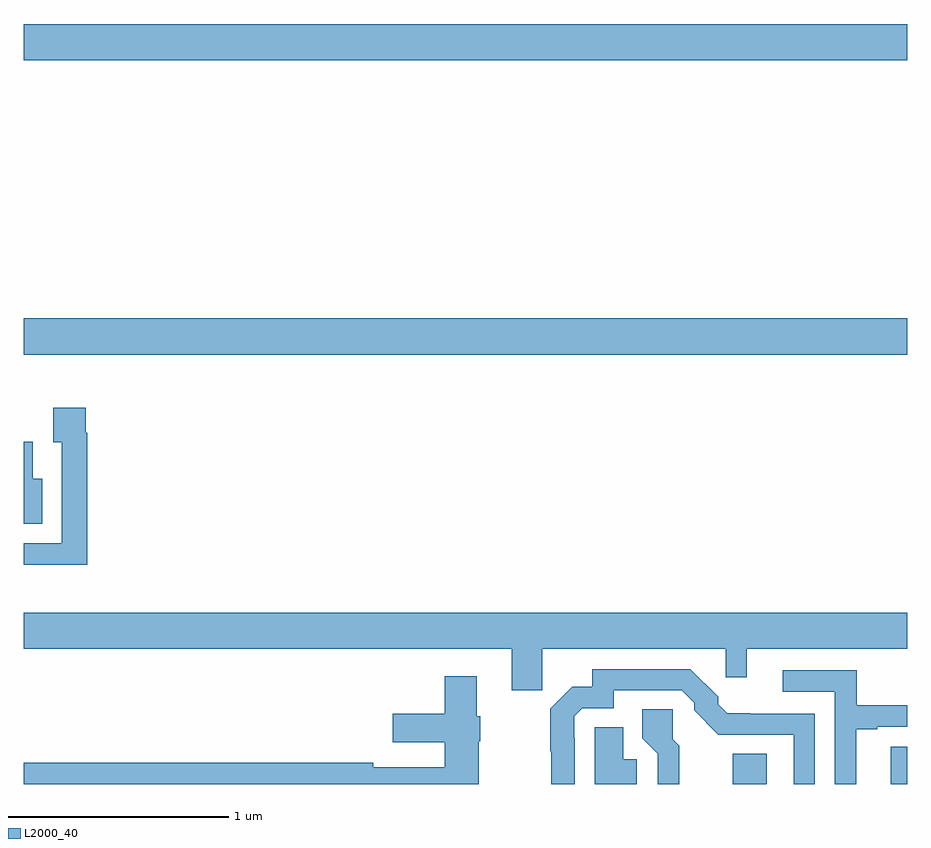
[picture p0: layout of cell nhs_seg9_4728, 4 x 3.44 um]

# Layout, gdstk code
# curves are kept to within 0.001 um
import gdstk
lib = gdstk.Library(unit=1e-6, precision=1e-09)
def R(c, l, rs):  # rectangles x0, y0, x1, y1
    for r in rs: c.add(gdstk.rectangle(r[:2], r[2:], *l))
def P(c, l, *ps):  # polygons
    for p in ps: c.add(gdstk.Polygon(p, *l))
L2000_40 = (2000, 40)

nhs_seg9_4728 = lib.new_cell('nhs_seg9_4728')
R(nhs_seg9_4728, L2000_40, [(388.925,1170.5,389,1170.669), (385,1172.444,389,1172.608), (385,1173.776,389,1173.94)])
P(nhs_seg9_4728, L2000_40, [(385.289,1172.09),(385.282,1172.09),(385.282,1172.203),(385.133,1172.203),(385.133,1172.047),(385.173,1172.047),(385.173,1171.59),(385,1171.59),(385,1171.493),(385.289,1171.493)],
  [(385.084,1171.882),(385.042,1171.882),(385.042,1172.05),(385,1172.05),(385,1171.679),(385.084,1171.679)],
  [(387.347,1171.112),(388.177,1171.112),(388.177,1170.983),(388.273,1170.983),(388.273,1171.112),(389,1171.112),(389,1171.276),(385,1171.276),(385,1171.112),(387.209,1171.112),(387.209,1170.924),(387.347,1170.924)],
  [(387.495,1170.707),(387.492,1170.707),(387.492,1170.807),(387.528,1170.843),(387.672,1170.843),(387.672,1170.924),(387.978,1170.924),(388.035,1170.867),(388.035,1170.833),(388.145,1170.723),(388.485,1170.723),(388.485,1170.5),(388.581,1170.5),(388.581,1170.819),(388.184,1170.82),(388.144,1170.861),(388.144,1170.895),(388.018,1171.02),(387.574,1171.02),(387.574,1170.94),(387.484,1170.94),(387.384,1170.84),(387.384,1170.649),(387.387,1170.649),(387.387,1170.5),(387.495,1170.5)],
  [(388.768,1170.747),(388.864,1170.747),(388.864,1170.759),(389,1170.759),(389,1170.856),(388.772,1170.856),(388.772,1171.014),(388.437,1171.014),(388.437,1170.918),(388.671,1170.918),(388.671,1170.5),(388.768,1170.5)],
  [(387.06,1170.693),(387.066,1170.693),(387.066,1170.807),(387.052,1170.807),(387.052,1170.988),(386.906,1170.988),(386.906,1170.819),(386.67,1170.819),(386.67,1170.689),(386.906,1170.689),(386.906,1170.576),(386.582,1170.576),(386.582,1170.596),(385,1170.596),(385,1170.5),(387.06,1170.5)],
  [(387.968,1170.674),(387.939,1170.703),(387.939,1170.838),(387.8,1170.838),(387.8,1170.706),(387.87,1170.636),(387.87,1170.5),(387.968,1170.5)],
  [(387.774,1170.611),(387.715,1170.611),(387.715,1170.758),(387.585,1170.758),(387.585,1170.5),(387.774,1170.5)],
  [(388.363,1170.502),(388.363,1170.638),(388.209,1170.638),(388.209,1170.5),(388.361,1170.5)])

lib.write_gds('nhs_seg9_4728.gds')
